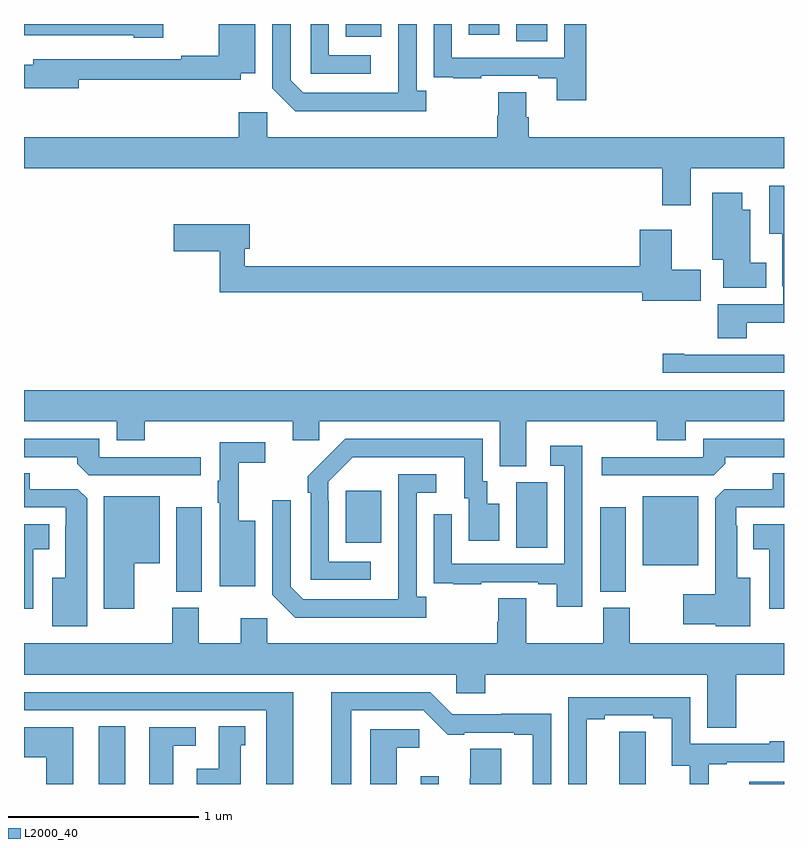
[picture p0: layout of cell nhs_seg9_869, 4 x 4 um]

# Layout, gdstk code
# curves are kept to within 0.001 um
import gdstk
lib = gdstk.Library(unit=1e-6, precision=1e-09)
def R(c, l, rs):  # rectangles x0, y0, x1, y1
    for r in rs: c.add(gdstk.rectangle(r[:2], r[2:], *l))
def P(c, l, *ps):  # polygons
    for p in ps: c.add(gdstk.Polygon(p, *l))
L2000_40 = (2000, 40)

nhs_seg9_869 = lib.new_cell('nhs_seg9_869')
R(nhs_seg9_869, L2000_40, [(157.394,1206.5,157.534,1206.803), (159.087,1206.5,159.184,1206.541), (160.817,1206.5,161,1206.511), (157.802,1207.513,157.936,1207.957), (160.034,1207.513,160.168,1207.957), (160.256,1207.652,160.549,1208.014), (159.59,1207.744,159.754,1208.088), (158.693,1207.769,158.881,1208.044), (159.59,1210.408,159.754,1210.5), (158.693,1210.433,158.881,1210.5), (159.341,1210.443,159.502,1210.5)])
P(nhs_seg9_869, L2000_40, [(157.732,1210.5),(157,1210.5),(157,1210.44),(157.578,1210.44),(157.578,1210.427),(157.732,1210.427)],
  [(159.118,1210.15),(159.066,1210.15),(159.066,1210.5),(158.97,1210.5),(158.969,1210.137),(158.469,1210.137),(158.403,1210.203),(158.403,1210.5),(158.307,1210.5),(158.307,1210.161),(158.428,1210.04),(159.118,1210.04)],
  [(157.288,1210.206),(158.142,1210.206),(158.142,1210.241),(158.218,1210.241),(158.218,1210.498),(158.129,1210.498),(158.129,1210.5),(158.026,1210.5),(158.026,1210.334),(157.828,1210.334),(157.828,1210.314),(157.049,1210.314),(157.049,1210.285),(157,1210.285),(157,1210.163),(157.288,1210.163)],
  [(159.959,1210.5),(159.843,1210.5),(159.843,1210.323),(159.252,1210.323),(159.252,1210.5),(159.156,1210.5),(159.156,1210.33),(159.157,1210.33),(159.157,1210.221),(159.259,1210.221),(159.259,1210.215),(159.407,1210.215),(159.407,1210.227),(159.707,1210.227),(159.707,1210.215),(159.803,1210.215),(159.803,1210.098),(159.959,1210.098)],
  [(158.824,1210.335),(158.604,1210.335),(158.604,1210.5),(158.508,1210.5),(158.508,1210.239),(158.824,1210.239)],
  [(160.51,1209.74),(161,1209.74),(161,1209.904),(159.656,1209.904),(159.656,1210.01),(159.643,1210.01),(159.643,1210.142),(159.496,1210.142),(159.496,1210.017),(159.491,1210.017),(159.491,1209.904),(158.28,1209.904),(158.28,1210.036),(158.129,1210.036),(158.129,1209.904),(157,1209.904),(157,1209.74),(160.358,1209.74),(160.358,1209.546),(160.51,1209.546)],
  [(160.804,1208.928),(161,1208.928),(161,1209.649),(160.922,1209.649),(160.922,1209.395),(160.991,1209.395),(160.991,1209.121),(160.995,1209.121),(160.995,1209.024),(160.652,1209.024),(160.652,1208.845),(160.804,1208.845)],
  [(160.906,1209.244),(160.822,1209.244),(160.822,1209.523),(160.78,1209.523),(160.78,1209.613),(160.622,1209.613),(160.622,1209.26),(160.679,1209.26),(160.679,1209.113),(160.906,1209.113)],
  [(160.561,1209.207),(160.408,1209.207),(160.408,1209.418),(160.241,1209.418),(160.241,1209.224),(158.161,1209.224),(158.161,1209.317),(158.189,1209.317),(158.189,1209.447),(157.788,1209.447),(157.788,1209.305),(158.029,1209.305),(158.029,1209.088),(160.253,1209.088),(160.253,1209.044),(160.561,1209.044)],
  [(161,1208.76),(160.474,1208.76),(160.474,1208.765),(160.362,1208.765),(160.362,1208.664),(161,1208.664)],
  [(159.643,1208.408),(160.331,1208.408),(160.331,1208.309),(160.483,1208.309),(160.483,1208.408),(161,1208.408),(161,1208.572),(157,1208.572),(157,1208.408),(157.487,1208.408),(157.487,1208.309),(157.635,1208.309),(157.635,1208.408),(158.414,1208.408),(158.414,1208.31),(158.553,1208.31),(158.553,1208.408),(159.503,1208.408),(159.503,1208.173),(159.643,1208.173)],
  [(160.691,1208.186),(160.691,1208.22),(161,1208.22),(161,1208.316),(160.575,1208.316),(160.575,1208.22),(160.041,1208.22),(160.041,1208.124),(160.629,1208.124)],
  [(158.824,1207.671),(158.604,1207.671),(158.604,1207.991),(158.601,1207.991),(158.601,1208.091),(158.73,1208.22),(159.317,1208.22),(159.317,1208.004),(159.341,1208.004),(159.341,1207.779),(159.502,1207.779),(159.502,1207.975),(159.439,1207.975),(159.439,1208.094),(159.414,1208.094),(159.414,1208.316),(158.69,1208.316),(158.493,1208.121),(158.493,1208.033),(158.508,1208.033),(158.508,1207.575),(158.824,1207.575)],
  [(157.93,1208.22),(157.395,1208.22),(157.395,1208.316),(157,1208.316),(157,1208.22),(157.28,1208.22),(157.28,1208.186),(157.341,1208.124),(157.93,1208.124)],
  [(158.218,1207.885),(158.129,1207.885),(158.129,1208.19),(158.269,1208.19),(158.269,1208.298),(158.031,1208.298),(158.031,1208.095),(158.019,1208.095),(158.019,1207.981),(158.03,1207.981),(158.03,1207.541),(158.218,1207.541)],
  [(159.939,1208.281),(159.771,1208.281),(159.771,1208.175),(159.843,1208.175),(159.843,1207.659),(159.252,1207.659),(159.252,1207.921),(159.156,1207.921),(159.156,1207.666),(159.157,1207.666),(159.157,1207.557),(159.259,1207.557),(159.259,1207.551),(159.407,1207.551),(159.407,1207.563),(159.707,1207.563),(159.707,1207.551),(159.803,1207.551),(159.803,1207.434),(159.939,1207.434)],
  [(157.333,1208.003),(157.284,1208.052),(157.03,1208.052),(157.03,1208.135),(157,1208.135),(157,1207.956),(157.221,1207.956),(157.221,1207.859),(157.217,1207.859),(157.217,1207.585),(157.148,1207.585),(157.148,1207.331),(157.333,1207.331)],
  [(160.822,1207.585),(160.753,1207.585),(160.753,1207.859),(160.749,1207.859),(160.749,1207.956),(161,1207.956),(161,1208.135),(160.94,1208.135),(160.94,1208.052),(160.686,1208.052),(160.637,1208.003),(160.637,1207.498),(160.47,1207.498),(160.47,1207.34),(160.641,1207.34),(160.641,1207.331),(160.822,1207.331)],
  [(159.118,1207.486),(159.066,1207.486),(159.066,1208.034),(159.169,1208.034),(159.169,1208.13),(158.97,1208.13),(158.969,1207.473),(158.469,1207.473),(158.403,1207.539),(158.403,1207.993),(158.307,1207.993),(158.307,1207.497),(158.428,1207.376),(159.118,1207.376)],
  [(157.579,1207.661),(157.714,1207.661),(157.714,1208.014),(157.421,1208.014),(157.421,1207.422),(157.579,1207.422)],
  [(157.048,1207.736),(157.132,1207.736),(157.132,1207.867),(157,1207.867),(157,1207.422),(157.048,1207.422)],
  [(161,1207.867),(160.838,1207.867),(160.838,1207.736),(160.922,1207.736),(160.922,1207.422),(161,1207.422)],
  [(160.748,1207.076),(161,1207.076),(161,1207.24),(160.189,1207.24),(160.189,1207.428),(160.049,1207.428),(160.049,1207.24),(159.643,1207.24),(159.643,1207.478),(159.496,1207.478),(159.496,1207.353),(159.491,1207.353),(159.491,1207.24),(158.28,1207.24),(158.28,1207.372),(158.141,1207.372),(158.141,1207.24),(157.921,1207.24),(157.921,1207.428),(157.781,1207.428),(157.781,1207.24),(157,1207.24),(157,1207.076),(159.276,1207.076),(159.276,1206.978),(159.428,1206.978),(159.428,1207.076),(160.595,1207.076),(160.595,1206.796),(160.748,1206.796)],
  [(158.416,1206.984),(157,1206.984),(157,1206.888),(158.276,1206.888),(158.276,1206.5),(158.416,1206.5)],
  [(158.722,1206.888),(159.102,1206.888),(159.23,1206.76),(159.316,1206.76),(159.316,1206.771),(159.581,1206.771),(159.581,1206.759),(159.677,1206.759),(159.677,1206.5),(159.774,1206.5),(159.774,1206.869),(159.511,1206.869),(159.511,1206.867),(159.255,1206.867),(159.138,1206.984),(158.618,1206.984),(158.618,1206.5),(158.722,1206.5)],
  [(159.961,1206.841),(160.057,1206.841),(160.057,1206.861),(160.313,1206.861),(160.313,1206.846),(160.409,1206.846),(160.409,1206.595),(160.504,1206.595),(160.504,1206.5),(160.604,1206.5),(160.604,1206.603),(160.699,1206.603),(160.699,1206.615),(161,1206.615),(161,1206.724),(160.925,1206.724),(160.925,1206.711),(160.506,1206.711),(160.506,1206.957),(159.864,1206.957),(159.864,1206.5),(159.961,1206.5)],
  [(158.14,1206.705),(158.164,1206.705),(158.164,1206.803),(158.024,1206.803),(158.024,1206.58),(157.91,1206.58),(157.91,1206.5),(158.14,1206.5)],
  [(157.258,1206.799),(157,1206.799),(157,1206.64),(157.118,1206.64),(157.118,1206.5),(157.258,1206.5)],
  [(157.786,1206.702),(157.903,1206.702),(157.903,1206.798),(157.658,1206.798),(157.658,1206.5),(157.786,1206.5)],
  [(158.962,1206.692),(159.079,1206.692),(159.079,1206.789),(158.822,1206.789),(158.822,1206.5),(158.962,1206.5)],
  [(160.273,1206.668),(160.272,1206.668),(160.272,1206.776),(160.133,1206.776),(160.133,1206.5),(160.273,1206.5)],
  [(159.511,1206.686),(159.349,1206.686),(159.349,1206.528),(159.347,1206.528),(159.347,1206.5),(159.511,1206.5)])

lib.write_gds('nhs_seg9_869.gds')
